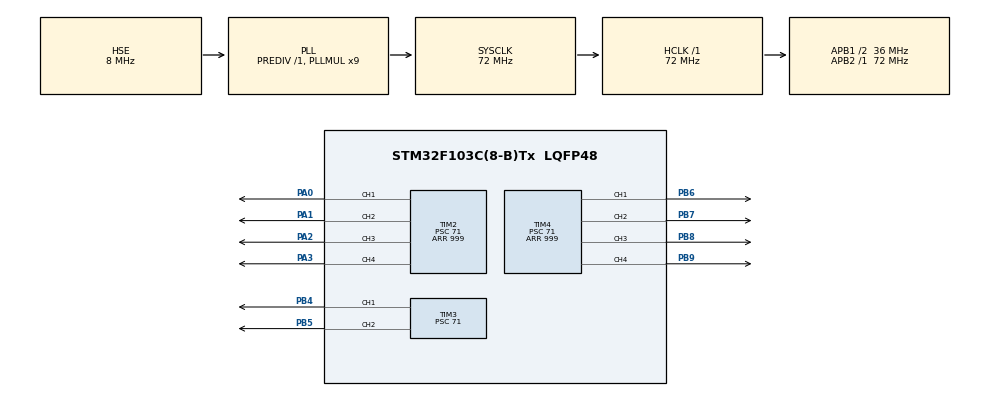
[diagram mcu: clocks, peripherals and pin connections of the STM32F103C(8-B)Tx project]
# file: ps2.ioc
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Mcu.Family=STM32F1
Mcu.Name=STM32F103C(8-B)Tx
Mcu.Package=LQFP48
NVIC.PriorityGroup=NVIC_PRIORITYGROUP_4
PA0-WKUP.Signal=S_TIM2_CH1_ETR
PA1.Signal=S_TIM2_CH2
PA13.Mode=Serial_Wire
PA13.Signal=SYS_JTMS-SWDIO
PA14.Mode=Serial_Wire
PA14.Signal=SYS_JTCK-SWCLK
PA2.Signal=S_TIM2_CH3
PA3.Signal=S_TIM2_CH4
PB4.Signal=S_TIM3_CH1
PB5.Signal=S_TIM3_CH2
PB6.Signal=S_TIM4_CH1
PB7.Signal=S_TIM4_CH2
PB8.Signal=S_TIM4_CH3
PB9.Signal=S_TIM4_CH4
PD0-OSC_IN.Mode=HSE-External-Oscillator
PD0-OSC_IN.Signal=RCC_OSC_IN
PD1-OSC_OUT.Mode=HSE-External-Oscillator
PD1-OSC_OUT.Signal=RCC_OSC_OUT
ProjectManager.HeapSize=0x200
ProjectManager.StackSize=0x400
ProjectManager.TargetToolchain=CMake
RCC.AHBFreq_Value=72000000
RCC.APB1CLKDivider=RCC_HCLK_DIV2
RCC.APB1Freq_Value=36000000
RCC.APB1TimFreq_Value=72000000
RCC.APB2Freq_Value=72000000
RCC.APB2TimFreq_Value=72000000
RCC.HCLKFreq_Value=72000000
RCC.PLLMUL=RCC_PLL_MUL9
RCC.PLLSourceVirtual=RCC_PLLSOURCE_HSE
RCC.SYSCLKFreq_VALUE=72000000
RCC.SYSCLKSource=RCC_SYSCLKSOURCE_PLLCLK
RCC.USBFreq_Value=72000000
SH.S_TIM2_CH1_ETR.0=TIM2_CH1,PWM Generation1 CH1
SH.S_TIM2_CH2.0=TIM2_CH2,PWM Generation2 CH2
SH.S_TIM2_CH3.0=TIM2_CH3,PWM Generation3 CH3
SH.S_TIM2_CH4.0=TIM2_CH4,PWM Generation4 CH4
SH.S_TIM3_CH1.0=TIM3_CH1,PWM Generation1 CH1
SH.S_TIM3_CH2.0=TIM3_CH2,PWM Generation2 CH2
SH.S_TIM4_CH1.0=TIM4_CH1,PWM Generation1 CH1
SH.S_TIM4_CH2.0=TIM4_CH2,PWM Generation2 CH2
SH.S_TIM4_CH3.0=TIM4_CH3,PWM Generation3 CH3
SH.S_TIM4_CH4.0=TIM4_CH4,PWM Generation4 CH4
TIM2.Channel-PWM\ Generation1\ CH1=TIM_CHANNEL_1
TIM2.Channel-PWM\ Generation2\ CH2=TIM_CHANNEL_2
TIM2.Channel-PWM\ Generation3\ CH3=TIM_CHANNEL_3
TIM2.Channel-PWM\ Generation4\ CH4=TIM_CHANNEL_4
TIM2.Period=999
TIM2.Prescaler=71
TIM2.Pulse-PWM\ Generation1\ CH1=1000
TIM2.Pulse-PWM\ Generation2\ CH2=1000
TIM2.Pulse-PWM\ Generation3\ CH3=1000
TIM3.Channel-PWM\ Generation1\ CH1=TIM_CHANNEL_1
TIM3.Channel-PWM\ Generation2\ CH2=TIM_CHANNEL_2
TIM3.Period=19999
TIM3.Prescaler=71
TIM3.Pulse-PWM\ Generation1\ CH1=500
TIM4.Channel-PWM\ Generation1\ CH1=TIM_CHANNEL_1
TIM4.Channel-PWM\ Generation2\ CH2=TIM_CHANNEL_2
TIM4.Channel-PWM\ Generation3\ CH3=TIM_CHANNEL_3
TIM4.Channel-PWM\ Generation4\ CH4=TIM_CHANNEL_4
TIM4.Period=999
TIM4.Prescaler=71
TIM4.Pulse-PWM\ Generation1\ CH1=1000
TIM4.Pulse-PWM\ Generation2\ CH2=1000
TIM4.Pulse-PWM\ Generation3\ CH3=1000
TIM4.Pulse-PWM\ Generation4\ CH4=1000
board=custom

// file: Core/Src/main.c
/* USER CODE BEGIN Header */
/**
  ******************************************************************************
  * @file           : main.c
  * @brief          : Main program body
  ******************************************************************************
  * @attention
  *
  * Copyright (c) 2025 STMicroelectronics.
  * All rights reserved.
  *
  * This software is licensed under terms that can be found in the LICENSE file
  * in the root directory of this software component.
  * If no LICENSE file comes with this software, it is provided AS-IS.
  *
  ******************************************************************************
  */
/* USER CODE END Header */
#include "main.h"
#include "tim.h"
#include "gpio.h"

/* USER CODE BEGIN Includes */
#include "ax_ps2.h"

/* USER CODE END Includes */

void SystemClock_Config(void);

/* USER CODE BEGIN 0 */
JOYSTICK_TypeDef ps2;

/* USER CODE END 0 */

int main(void)
{

  /* MCU Configuration--------------------------------------------------------*/

  /* Reset of all peripherals, Initializes the Flash interface and the Systick. */
  HAL_Init();

  /* USER CODE BEGIN Init */
  AX_PS2_Init();

  /* USER CODE END Init */

  /* Configure the system clock */
  SystemClock_Config();

  /* Initialize all configured peripherals */
  MX_GPIO_Init();
  MX_TIM4_Init();
  MX_TIM2_Init();
  MX_TIM3_Init();
  /* USER CODE BEGIN 2 */

  HAL_TIM_PWM_Start(&htim4,TIM_CHANNEL_1);
  HAL_TIM_PWM_Start(&htim4,TIM_CHANNEL_2);
  HAL_TIM_PWM_Start(&htim4,TIM_CHANNEL_3);
  HAL_TIM_PWM_Start(&htim4,TIM_CHANNEL_4);
  HAL_TIM_PWM_Start(&htim2,TIM_CHANNEL_1);
  HAL_TIM_PWM_Start(&htim2,TIM_CHANNEL_2);
  HAL_TIM_PWM_Start(&htim2,TIM_CHANNEL_3);
  HAL_TIM_PWM_Start(&htim2,TIM_CHANNEL_4);
  HAL_TIM_PWM_Start(&htim3,TIM_CHANNEL_1);

  /* USER CODE END 2 */

  /* Infinite loop */
  /* USER CODE BEGIN WHILE */

  while (1)
  {
    AX_PS2_ScanKey(&ps2);
    HAL_Delay(10);
    __HAL_TIM_SET_COMPARE(&htim4, TIM_CHANNEL_1, 0);
    __HAL_TIM_SET_COMPARE(&htim4, TIM_CHANNEL_2, 0);
    __HAL_TIM_SET_COMPARE(&htim4, TIM_CHANNEL_3, 0);
    __HAL_TIM_SET_COMPARE(&htim4, TIM_CHANNEL_4, 0);
    __HAL_TIM_SET_COMPARE(&htim2, TIM_CHANNEL_1, 0);
    __HAL_TIM_SET_COMPARE(&htim2, TIM_CHANNEL_2, 0);
    __HAL_TIM_SET_COMPARE(&htim2, TIM_CHANNEL_3, 0);
    __HAL_TIM_SET_COMPARE(&htim2, TIM_CHANNEL_4, 0);

    /* USER CODE END WHILE */

    /* USER CODE BEGIN 3 */
    if (ps2.btn1==16) {
      __HAL_TIM_SET_COMPARE(&htim4, TIM_CHANNEL_1, 0);//直行
      __HAL_TIM_SET_COMPARE(&htim4, TIM_CHANNEL_2, 800);
      __HAL_TIM_SET_COMPARE(&htim4, TIM_CHANNEL_3, 800);
      __HAL_TIM_SET_COMPARE(&htim4, TIM_CHANNEL_4, 0);
      __HAL_TIM_SET_COMPARE(&htim2, TIM_CHANNEL_1, 0);
      __HAL_TIM_SET_COMPARE(&htim2, TIM_CHANNEL_2, 800);
      __HAL_TIM_SET_COMPARE(&htim2, TIM_CHANNEL_3, 800);
      __HAL_TIM_SET_COMPARE(&htim2, TIM_CHANNEL_4, 0);
    }
    if (ps2.btn1==64) {
      __HAL_TIM_SET_COMPARE(&htim4, TIM_CHANNEL_1, 800);//后退
      __HAL_TIM_SET_COMPARE(&htim4, TIM_CHANNEL_2, 0);
      __HAL_TIM_SET_COMPARE(&htim4, TIM_CHANNEL_3, 0);
      __HAL_TIM_SET_COMPARE(&htim4, TIM_CHANNEL_4, 800);
      __HAL_TIM_SET_COMPARE(&htim2, TIM_CHANNEL_1, 800);
      __HAL_TIM_SET_COMPARE(&htim2, TIM_CHANNEL_2, 0);
      __HAL_TIM_SET_COMPARE(&htim2, TIM_CHANNEL_3, 0);
      __HAL_TIM_SET_COMPARE(&htim2, TIM_CHANNEL_4, 800);
    }
    if (ps2.btn1==128) {
      __HAL_TIM_SET_COMPARE(&htim4, TIM_CHANNEL_1, 800);//左转
      __HAL_TIM_SET_COMPARE(&htim4, TIM_CHANNEL_2, 0);
      __HAL_TIM_SET_COMPARE(&htim4, TIM_CHANNEL_3, 800);
      __HAL_TIM_SET_COMPARE(&htim4, TIM_CHANNEL_4, 0);
      __HAL_TIM_SET_COMPARE(&htim2, TIM_CHANNEL_1, 0);
      __HAL_TIM_SET_COMPARE(&htim2, TIM_CHANNEL_2, 800);
      __HAL_TIM_SET_COMPARE(&htim2, TIM_CHANNEL_3, 0);
      __HAL_TIM_SET_COMPARE(&htim2, TIM_CHANNEL_4, 800);
    }
    if (ps2.btn1==32) {
      __HAL_TIM_SET_COMPARE(&htim4, TIM_CHANNEL_1, 0);//右转
      __HAL_TIM_SET_COMPARE(&htim4, TIM_CHANNEL_2, 800);
      __HAL_TIM_SET_COMPARE(&htim4, TIM_CHANNEL_3, 0);
      __HAL_TIM_SET_COMPARE(&htim4, TIM_CHANNEL_4, 800);
      __HAL_TIM_SET_COMPARE(&htim2, TIM_CHANNEL_1, 800);
      __HAL_TIM_SET_COMPARE(&htim2, TIM_CHANNEL_2, 0);
      __HAL_TIM_SET_COMPARE(&htim2, TIM_CHANNEL_3, 800);
      __HAL_TIM_SET_COMPARE(&htim2, TIM_CHANNEL_4, 0);
    }
    if (ps2.btn1==48) {
      __HAL_TIM_SET_COMPARE(&htim4, TIM_CHANNEL_1, 0);//右上
      __HAL_TIM_SET_COMPARE(&htim4, TIM_CHANNEL_2, 800);
      __HAL_TIM_SET_COMPARE(&htim4, TIM_CHANNEL_3, 0);
      __HAL_TIM_SET_COMPARE(&htim4, TIM_CHANNEL_4, 800);
      __HAL_TIM_SET_COMPARE(&htim2, TIM_CHANNEL_1, 0);
      __HAL_TIM_SET_COMPARE(&htim2, TIM_CHANNEL_2, 800);
      __HAL_TIM_SET_COMPARE(&htim2, TIM_CHANNEL_3, 800);
      __HAL_TIM_SET_COMPARE(&htim2, TIM_CHANNEL_4, 0);
    }
    if (ps2.btn1==144) {
      __HAL_TIM_SET_COMPARE(&htim4, TIM_CHANNEL_1, 800);//左上
      __HAL_TIM_SET_COMPARE(&htim4, TIM_CHANNEL_2, 0);
      __HAL_TIM_SET_COMPARE(&htim4, TIM_CHANNEL_3, 800);
      __HAL_TIM_SET_COMPARE(&htim4, TIM_CHANNEL_4, 0);
      __HAL_TIM_SET_COMPARE(&htim2, TIM_CHANNEL_1, 0);
      __HAL_TIM_SET_COMPARE(&htim2, TIM_CHANNEL_2, 800);
      __HAL_TIM_SET_COMPARE(&htim2, TIM_CHANNEL_3, 800);
      __HAL_TIM_SET_COMPARE(&htim2, TIM_CHANNEL_4, 0);
    }
    if (ps2.btn1==48) {
      __HAL_TIM_SET_COMPARE(&htim4, TIM_CHANNEL_1, 800);//右下
      __HAL_TIM_SET_COMPARE(&htim4, TIM_CHANNEL_2, 0);
      __HAL_TIM_SET_COMPARE(&htim4, TIM_CHANNEL_3, 0);
      __HAL_TIM_SET_COMPARE(&htim4, TIM_CHANNEL_4, 800);
      __HAL_TIM_SET_COMPARE(&htim2, TIM_CHANNEL_1, 800);
      __HAL_TIM_SET_COMPARE(&htim2, TIM_CHANNEL_2, 0);
      __HAL_TIM_SET_COMPARE(&htim2, TIM_CHANNEL_3, 800);
      __HAL_TIM_SET_COMPARE(&htim2, TIM_CHANNEL_4, 0);
    }
    if (ps2.btn1==96) {
      __HAL_TIM_SET_COMPARE(&htim4, TIM_CHANNEL_1, 0);//坐下
      __HAL_TIM_SET_COMPARE(&htim4, TIM_CHANNEL_2, 800);
      __HAL_TIM_SET_COMPARE(&htim4, TIM_CHANNEL_3, 800);
      __HAL_TIM_SET_COMPARE(&htim4, TIM_CHANNEL_4, 0);
      __HAL_TIM_SET_COMPARE(&htim2, TIM_CHANNEL_1, 800);
      __HAL_TIM_SET_COMPARE(&htim2, TIM_CHANNEL_2, 0);
      __HAL_TIM_SET_COMPARE(&htim2, TIM_CHANNEL_3, 0);
      __HAL_TIM_SET_COMPARE(&htim2, TIM_CHANNEL_4, 800);
    }
    if (ps2.btn2==4) {
      __HAL_TIM_SET_COMPARE(&htim4, TIM_CHANNEL_1, 800);//左旋
      __HAL_TIM_SET_COMPARE(&htim4, TIM_CHANNEL_2, 0);
      __HAL_TIM_SET_COMPARE(&htim4, TIM_CHANNEL_3, 800);
      __HAL_TIM_SET_COMPARE(&htim4, TIM_CHANNEL_4, 0);
      __HAL_TIM_SET_COMPARE(&htim2, TIM_CHANNEL_1, 800);
      __HAL_TIM_SET_COMPARE(&htim2, TIM_CHANNEL_2, 0);
      __HAL_TIM_SET_COMPARE(&htim2, TIM_CHANNEL_3, 800);
      __HAL_TIM_SET_COMPARE(&htim2, TIM_CHANNEL_4, 0);
    }
    if (ps2.btn2==8) {
      __HAL_TIM_SET_COMPARE(&htim4, TIM_CHANNEL_1, 0);//右旋
      __HAL_TIM_SET_COMPARE(&htim4, TIM_CHANNEL_2, 800);
      __HAL_TIM_SET_COMPARE(&htim4, TIM_CHANNEL_3, 0);
      __HAL_TIM_SET_COMPARE(&htim4, TIM_CHANNEL_4, 800);
      __HAL_TIM_SET_COMPARE(&htim2, TIM_CHANNEL_1, 0);
      __HAL_TIM_SET_COMPARE(&htim2, TIM_CHANNEL_2, 800);
      __HAL_TIM_SET_COMPARE(&htim2, TIM_CHANNEL_3, 0);
      __HAL_TIM_SET_COMPARE(&htim2, TIM_CHANNEL_4, 800);
    }
    if (ps2.btn2==1) {
      __HAL_TIM_SET_COMPARE(&htim3, TIM_CHANNEL_1, 500);
    }
    if (ps2.btn2==2) {
      __HAL_TIM_SET_COMPARE(&htim3, TIM_CHANNEL_1, 2085);
    }
    HAL_Delay(20);
    }

  /* USER CODE END 3 */
}

void SystemClock_Config(void)
{
  RCC_OscInitTypeDef RCC_OscInitStruct = {0};
  RCC_ClkInitTypeDef RCC_ClkInitStruct = {0};

  /** Initializes the RCC Oscillators according to the specified parameters
  * in the RCC_OscInitTypeDef structure.
  */
  RCC_OscInitStruct.OscillatorType = RCC_OSCILLATORTYPE_HSE;
  RCC_OscInitStruct.HSEState = RCC_HSE_ON;
  RCC_OscInitStruct.HSEPredivValue = RCC_HSE_PREDIV_DIV1;
  RCC_OscInitStruct.HSIState = RCC_HSI_ON;
  RCC_OscInitStruct.PLL.PLLState = RCC_PLL_ON;
  RCC_OscInitStruct.PLL.PLLSource = RCC_PLLSOURCE_HSE;
  RCC_OscInitStruct.PLL.PLLMUL = RCC_PLL_MUL9;
  if (HAL_RCC_OscConfig(&RCC_OscInitStruct) != HAL_OK)
  {
    Error_Handler();
  }

  /** Initializes the CPU, AHB and APB buses clocks
  */
  RCC_ClkInitStruct.ClockType = RCC_CLOCKTYPE_HCLK|RCC_CLOCKTYPE_SYSCLK
                              |RCC_CLOCKTYPE_PCLK1|RCC_CLOCKTYPE_PCLK2;
  RCC_ClkInitStruct.SYSCLKSource = RCC_SYSCLKSOURCE_PLLCLK;
  RCC_ClkInitStruct.AHBCLKDivider = RCC_SYSCLK_DIV1;
  RCC_ClkInitStruct.APB1CLKDivider = RCC_HCLK_DIV2;
  RCC_ClkInitStruct.APB2CLKDivider = RCC_HCLK_DIV1;

  if (HAL_RCC_ClockConfig(&RCC_ClkInitStruct, FLASH_LATENCY_2) != HAL_OK)
  {
    Error_Handler();
  }
}

void Error_Handler(void)
{
  __disable_irq();
  while (1)
  {
  }
}
